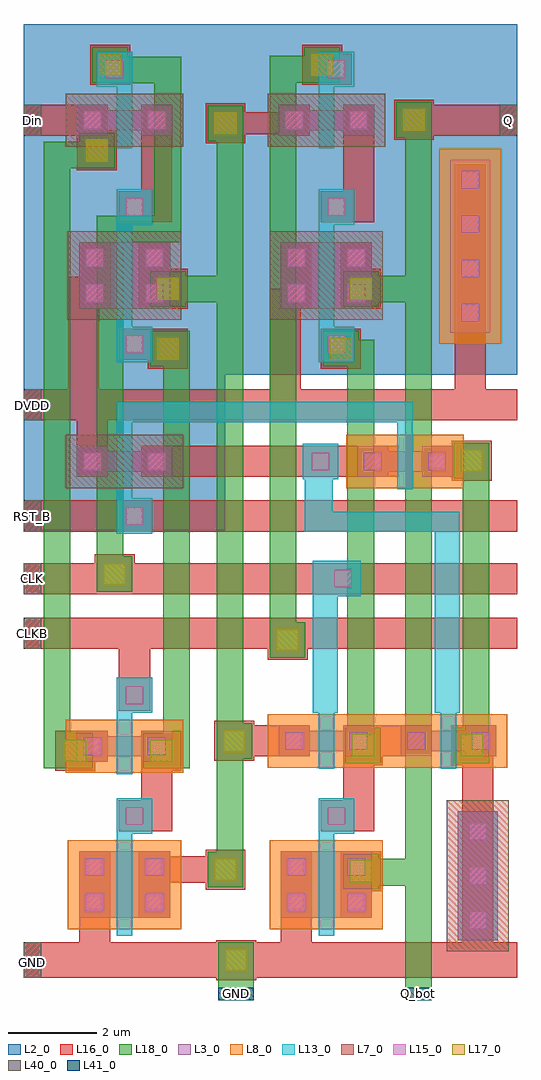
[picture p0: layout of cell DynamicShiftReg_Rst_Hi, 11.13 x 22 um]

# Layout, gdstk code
import gdstk
lib = gdstk.Library(unit=1e-6, precision=1e-09)
def R(c, l, rs):  # rectangles x0, y0, x1, y1
    for r in rs: c.add(gdstk.rectangle(r[:2], r[2:], *l))
def A(c, l, x, y, w, h, nx, ny, dx, dy):  # array of equal rectangles
    R(c, l, [(x+i*dx, y+j*dy, x+i*dx+w, y+j*dy+h) for i in range(nx) for j in range(ny)])
L2_0 = (2, 0)
L3_0 = (3, 0)
L7_0 = (7, 0)
L8_0 = (8, 0)
L13_0 = (13, 0)
L15_0 = (15, 0)
L16_0 = (16, 0)
L17_0 = (17, 0)
L18_0 = (18, 0)
L40_0 = (40, 0)
L41_0 = (41, 0)

pch_cdns_760839033300 = lib.new_cell('pch_CDNS_760839033300')
R(pch_cdns_760839033300, L2_0, [(-2.05,-1.2,2.4,2.7)])
R(pch_cdns_760839033300, L3_0, [(-0.85,0,-0.15,1.5), (-0.85,0,-0.15,1.5), (-0.15,0,0.5,1.5), (0.5,0,1.2,1.5), (0.5,0,1.2,1.5)])
R(pch_cdns_760839033300, L7_0, [(-1.1,-0.25,1.45,1.75)])
R(pch_cdns_760839033300, L13_0, [(0,-0.4,0.35,1.9)])
R(pch_cdns_760839033300, L15_0, [(-0.7,0.15,-0.3,0.55), (0.65,0.15,1.05,0.55), (-0.7,0.95,-0.3,1.35), (0.65,0.95,1.05,1.35)])
R(pch_cdns_760839033300, L16_0, [(-0.85,0,-0.15,1.5), (0.5,0,1.2,1.5)])
pch_cdns_760839033300.add(gdstk.Label('D', (0.85,0.75), layer=59, texttype=0))
pch_cdns_760839033300.add(gdstk.Label('S', (-0.5,0.75), layer=59, texttype=0))
pch_cdns_760839033300.add(gdstk.Label('G', (0.175,0.75), layer=59, texttype=0))
pch_cdns_760839033300.add(gdstk.Label('& SerialNumber 000000', (0,0), layer=16, texttype=0))
pch_cdns_760839033300.add(gdstk.Label('& Distributor VIS', (0,0), layer=16, texttype=0))
pch_cdns_760839033300.add(gdstk.Label('& Metric 1', (0,0), layer=16, texttype=0))
pch_cdns_760839033300.add(gdstk.Label('& Version    \t  1.7A', (0,0), layer=16, texttype=0))
pch_cdns_760839033300.add(gdstk.Label('& PDKName     vis35cv', (0,0), layer=16, texttype=0))
pch_cdns_760839033300.add(gdstk.Label('& Vendor VIS Corp.', (0,0), layer=16, texttype=0))
pch_cdns_760839033300.add(gdstk.Label('& SerialNumber 000000', (0,0), layer=63, texttype=63))
pch_cdns_760839033300.add(gdstk.Label('& Distributor VIS', (0,0), layer=63, texttype=63))
pch_cdns_760839033300.add(gdstk.Label('& Metric 1', (0,0), layer=63, texttype=63))
pch_cdns_760839033300.add(gdstk.Label('& Version    \t  1.7A', (0,0), layer=63, texttype=63))
pch_cdns_760839033300.add(gdstk.Label('& PDKName     vis35cv', (0,0), layer=63, texttype=63))
pch_cdns_760839033300.add(gdstk.Label('& Vendor VIS Corp.', (0,0), layer=63, texttype=63))

pch_cdns_760839033301 = lib.new_cell('pch_CDNS_760839033301')
R(pch_cdns_760839033301, L2_0, [(-2.1,-1.32,2.45,1.78)])
R(pch_cdns_760839033301, L3_0, [(-0.9,-0.12,-0.2,0.58), (0.55,-0.12,1.25,0.58), (-0.9,0,-0.2,0.46), (-0.2,0,0.55,0.46), (0.55,0,1.25,0.46)])
R(pch_cdns_760839033301, L7_0, [(-1.15,-0.37,1.5,0.83)])
R(pch_cdns_760839033301, L13_0, [(0,-0.4,0.35,0.86)])
R(pch_cdns_760839033301, L15_0, [(-0.75,0.03,-0.35,0.43), (0.7,0.03,1.1,0.43)])
R(pch_cdns_760839033301, L16_0, [(-0.9,-0.12,-0.2,0.58), (0.55,-0.12,1.25,0.58)])
pch_cdns_760839033301.add(gdstk.Label('D', (0.9,0.23), layer=59, texttype=0))
pch_cdns_760839033301.add(gdstk.Label('S', (-0.55,0.23), layer=59, texttype=0))
pch_cdns_760839033301.add(gdstk.Label('G', (0.175,0.23), layer=59, texttype=0))
pch_cdns_760839033301.add(gdstk.Label('& SerialNumber 000000', (0,0), layer=16, texttype=0))
pch_cdns_760839033301.add(gdstk.Label('& Distributor VIS', (0,0), layer=16, texttype=0))
pch_cdns_760839033301.add(gdstk.Label('& Metric 1', (0,0), layer=16, texttype=0))
pch_cdns_760839033301.add(gdstk.Label('& Version    \t  1.7A', (0,0), layer=16, texttype=0))
pch_cdns_760839033301.add(gdstk.Label('& PDKName     vis35cv', (0,0), layer=16, texttype=0))
pch_cdns_760839033301.add(gdstk.Label('& Vendor VIS Corp.', (0,0), layer=16, texttype=0))
pch_cdns_760839033301.add(gdstk.Label('& SerialNumber 000000', (0,0), layer=63, texttype=63))
pch_cdns_760839033301.add(gdstk.Label('& Distributor VIS', (0,0), layer=63, texttype=63))
pch_cdns_760839033301.add(gdstk.Label('& Metric 1', (0,0), layer=63, texttype=63))
pch_cdns_760839033301.add(gdstk.Label('& Version    \t  1.7A', (0,0), layer=63, texttype=63))
pch_cdns_760839033301.add(gdstk.Label('& PDKName     vis35cv', (0,0), layer=63, texttype=63))
pch_cdns_760839033301.add(gdstk.Label('& Vendor VIS Corp.', (0,0), layer=63, texttype=63))

nch_cdns_760839033302 = lib.new_cell('nch_CDNS_760839033302')
R(nch_cdns_760839033302, L3_0, [(-0.9,-0.12,-0.2,0.58), (0.55,-0.12,1.25,0.58), (-0.9,0,-0.2,0.46), (-0.2,0,0.55,0.46), (0.55,0,1.25,0.46)])
R(nch_cdns_760839033302, L8_0, [(-1.15,-0.37,1.5,0.83)])
R(nch_cdns_760839033302, L13_0, [(0,-0.4,0.35,0.86)])
R(nch_cdns_760839033302, L15_0, [(-0.75,0.03,-0.35,0.43), (0.7,0.03,1.1,0.43)])
R(nch_cdns_760839033302, L16_0, [(-0.9,-0.12,-0.2,0.58), (0.55,-0.12,1.25,0.58)])
nch_cdns_760839033302.add(gdstk.Label('D', (0.9,0.23), layer=59, texttype=0))
nch_cdns_760839033302.add(gdstk.Label('S', (-0.55,0.23), layer=59, texttype=0))
nch_cdns_760839033302.add(gdstk.Label('G', (0.175,0.23), layer=59, texttype=0))
nch_cdns_760839033302.add(gdstk.Label('& SerialNumber 000000', (0,0), layer=16, texttype=0))
nch_cdns_760839033302.add(gdstk.Label('& Distributor VIS', (0,0), layer=16, texttype=0))
nch_cdns_760839033302.add(gdstk.Label('& Metric 1', (0,0), layer=16, texttype=0))
nch_cdns_760839033302.add(gdstk.Label('& Version    \t  1.7A', (0,0), layer=16, texttype=0))
nch_cdns_760839033302.add(gdstk.Label('& PDKName     vis35cv', (0,0), layer=16, texttype=0))
nch_cdns_760839033302.add(gdstk.Label('& Vendor VIS Corp.', (0,0), layer=16, texttype=0))
nch_cdns_760839033302.add(gdstk.Label('& SerialNumber 000000', (0,0), layer=63, texttype=63))
nch_cdns_760839033302.add(gdstk.Label('& Distributor VIS', (0,0), layer=63, texttype=63))
nch_cdns_760839033302.add(gdstk.Label('& Metric 1', (0,0), layer=63, texttype=63))
nch_cdns_760839033302.add(gdstk.Label('& Version    \t  1.7A', (0,0), layer=63, texttype=63))
nch_cdns_760839033302.add(gdstk.Label('& PDKName     vis35cv', (0,0), layer=63, texttype=63))
nch_cdns_760839033302.add(gdstk.Label('& Vendor VIS Corp.', (0,0), layer=63, texttype=63))

nch_cdns_760839033303 = lib.new_cell('nch_CDNS_760839033303')
R(nch_cdns_760839033303, L3_0, [(-0.85,0,-0.15,1.5), (-0.85,0,-0.15,1.5), (-0.15,0,0.5,1.5), (0.5,0,1.2,1.5), (0.5,0,1.2,1.5)])
R(nch_cdns_760839033303, L8_0, [(-1.1,-0.25,1.45,1.75)])
R(nch_cdns_760839033303, L13_0, [(0,-0.4,0.35,1.9)])
R(nch_cdns_760839033303, L15_0, [(-0.7,0.15,-0.3,0.55), (0.65,0.15,1.05,0.55), (-0.7,0.95,-0.3,1.35), (0.65,0.95,1.05,1.35)])
R(nch_cdns_760839033303, L16_0, [(-0.85,0,-0.15,1.5), (0.5,0,1.2,1.5)])
nch_cdns_760839033303.add(gdstk.Label('D', (0.85,0.75), layer=59, texttype=0))
nch_cdns_760839033303.add(gdstk.Label('S', (-0.5,0.75), layer=59, texttype=0))
nch_cdns_760839033303.add(gdstk.Label('G', (0.175,0.75), layer=59, texttype=0))
nch_cdns_760839033303.add(gdstk.Label('& SerialNumber 000000', (0,0), layer=16, texttype=0))
nch_cdns_760839033303.add(gdstk.Label('& Distributor VIS', (0,0), layer=16, texttype=0))
nch_cdns_760839033303.add(gdstk.Label('& Metric 1', (0,0), layer=16, texttype=0))
nch_cdns_760839033303.add(gdstk.Label('& Version    \t  1.7A', (0,0), layer=16, texttype=0))
nch_cdns_760839033303.add(gdstk.Label('& PDKName     vis35cv', (0,0), layer=16, texttype=0))
nch_cdns_760839033303.add(gdstk.Label('& Vendor VIS Corp.', (0,0), layer=16, texttype=0))
nch_cdns_760839033303.add(gdstk.Label('& SerialNumber 000000', (0,0), layer=63, texttype=63))
nch_cdns_760839033303.add(gdstk.Label('& Distributor VIS', (0,0), layer=63, texttype=63))
nch_cdns_760839033303.add(gdstk.Label('& Metric 1', (0,0), layer=63, texttype=63))
nch_cdns_760839033303.add(gdstk.Label('& Version    \t  1.7A', (0,0), layer=63, texttype=63))
nch_cdns_760839033303.add(gdstk.Label('& PDKName     vis35cv', (0,0), layer=63, texttype=63))
nch_cdns_760839033303.add(gdstk.Label('& Vendor VIS Corp.', (0,0), layer=63, texttype=63))

m1_nactive_cdns_76083903 = lib.new_cell('M1_NACTIVE_CDNS_760839033300')
R(m1_nactive_cdns_76083903, L3_0, [(-0.45,-1.95,0.45,1.95)])
R(m1_nactive_cdns_76083903, L8_0, [(-0.7,-2.2,0.7,2.2)])
A(m1_nactive_cdns_76083903, L15_0, -0.2, -1.7, 0.4, 0.4, 1, 4, 0, 1)
R(m1_nactive_cdns_76083903, L16_0, [(-0.35,-1.85,0.35,1.85)])

m2_m1_cdns_760839033301 = lib.new_cell('M2_M1_CDNS_760839033301')
R(m2_m1_cdns_760839033301, L16_0, [(-0.45,-0.45,0.45,0.45)])
R(m2_m1_cdns_760839033301, L17_0, [(-0.25,-0.25,0.25,0.25)])
R(m2_m1_cdns_760839033301, L18_0, [(-0.4,-0.4,0.4,0.4)])

m1_poly1_cdns_7608390333 = lib.new_cell('M1_POLY1_CDNS_760839033302')
R(m1_poly1_cdns_7608390333, L13_0, [(-0.4,-0.4,0.4,0.4)])
R(m1_poly1_cdns_7608390333, L15_0, [(-0.2,-0.2,0.2,0.2)])
R(m1_poly1_cdns_7608390333, L16_0, [(-0.35,-0.35,0.35,0.35)])

m1_pactive_cdns_76083903 = lib.new_cell('M1_PACTIVE_CDNS_760839033303')
R(m1_pactive_cdns_76083903, L3_0, [(-0.45,-1.45,0.45,1.45)])
R(m1_pactive_cdns_76083903, L7_0, [(-0.7,-1.7,0.7,1.7)])
A(m1_pactive_cdns_76083903, L15_0, -0.2, -1.2, 0.4, 0.4, 1, 3, 0, 1)
R(m1_pactive_cdns_76083903, L16_0, [(-0.35,-1.35,0.35,1.35)])

dynamicshiftreg_rst_hi = lib.new_cell('DynamicShiftReg_Rst_Hi')
R(dynamicshiftreg_rst_hi, L2_0, [(0,13.69,4.55,14.09), (0,14.09,11.13,22)])
R(dynamicshiftreg_rst_hi, L8_0, [(8.15,5.24,8.25,6.44)])
R(dynamicshiftreg_rst_hi, L13_0, [(6.52,6.47,7.08,9.9), (9.27,6.47,9.83,10.94), (6.34,10.56,9.83,11.01), (6.34,10.56,6.97,12.18), (2.1,11.31,2.45,11.51), (2.1,12.77,2.45,13.02), (8.42,12.77,8.77,13.02), (2.1,13.02,8.77,13.49)])
R(dynamicshiftreg_rst_hi, L16_0, [(8.1,5.49,8.5,6.19), (2.15,7.22,2.85,7.92), (2.65,11.79,8.44,12.49), (1.2,12.49,1.9,13.07)])
R(dynamicshiftreg_rst_hi, L40_0, [(0,0.5,0.4,1.3), (0,7.92,0.4,8.62), (0,9.15,0.4,9.85), (0,10.56,0.4,11.26), (0,13.07,0.4,13.77), (0,19.48,0.4,20.18), (10.73,19.48,11.13,20.18)])
R(dynamicshiftreg_rst_hi, L41_0, [(4.39,0,5.19,0.28), (8.6,0,9.2,0.28)])
dynamicshiftreg_rst_hi.add(gdstk.FlexPath([(10.1,5.74),(10.2,5.74)], 0.8, ends=(0, 0.3), simple_path=True, layer=18, datatype=0))  # L18_0
dynamicshiftreg_rst_hi.add(gdstk.FlexPath([(10.2,5.74),(10.2,12.14)], 0.6, ends=(0.4, 0), simple_path=True, layer=18, datatype=0))  # L18_0
dynamicshiftreg_rst_hi.add(gdstk.FlexPath([(4.79,0),(4.79,0.5)], 0.8, ends="flush", simple_path=True, layer=18, datatype=0))  # L18_0
dynamicshiftreg_rst_hi.add(gdstk.FlexPath([(1.65,19.05),(0.75,19.05)], 0.6, ends="extended", simple_path=True, layer=18, datatype=0))  # L18_0
dynamicshiftreg_rst_hi.add(gdstk.FlexPath([(1.65,19.03),(1.65,19.05)], 0.6, ends=(0, 0.3), simple_path=True, layer=18, datatype=0))  # L18_0
dynamicshiftreg_rst_hi.add(gdstk.FlexPath([(1.95,20.96),(3.25,20.96)], 0.6, ends=(0, 0.3), simple_path=True, layer=18, datatype=0))  # L18_0
dynamicshiftreg_rst_hi.add(gdstk.FlexPath([(6.73,20.98),(6.73,20.96)], 0.6, ends=(0.3, 0), simple_path=True, layer=18, datatype=0))  # L18_0
dynamicshiftreg_rst_hi.add(gdstk.FlexPath([(5.85,20.98),(6.73,20.98)], 0.6, ends="extended", simple_path=True, layer=18, datatype=0))  # L18_0
dynamicshiftreg_rst_hi.add(gdstk.FlexPath([(5.85,8.41),(5.85,20.98)], 0.6, ends=(0, 0.3), simple_path=True, layer=18, datatype=0))  # L18_0
dynamicshiftreg_rst_hi.add(gdstk.FlexPath([(1.95,17.38),(1.95,9.49)], 0.6, ends=(0.3, 0), simple_path=True, layer=18, datatype=0))  # L18_0
dynamicshiftreg_rst_hi.add(gdstk.FlexPath([(7.6,2.94),(7.6,2.88)], 0.6, ends=(0, 0.3), simple_path=True, layer=18, datatype=0))  # L18_0
dynamicshiftreg_rst_hi.add(gdstk.FlexPath([(7.6,2.88),(8.9,2.88)], 0.6, ends="extended", simple_path=True, layer=18, datatype=0))  # L18_0
dynamicshiftreg_rst_hi.add(gdstk.FlexPath([(7.15,14.58),(7.6,14.58)], 0.6, ends=(0.4, 0.3), simple_path=True, layer=18, datatype=0))  # L18_0
dynamicshiftreg_rst_hi.add(gdstk.FlexPath([(7.6,14.58),(7.6,5.35)], 0.6, ends=(0.3, 0), simple_path=True, layer=18, datatype=0))  # L18_0
dynamicshiftreg_rst_hi.add(gdstk.FlexPath([(3.45,14.68),(3.45,5.22)], 0.6, ends=(0.4, 0), simple_path=True, layer=18, datatype=0))  # L18_0
dynamicshiftreg_rst_hi.add(gdstk.FlexPath([(4.65,19.76),(4.65,2.94)], 0.6, ends="flush", simple_path=True, layer=18, datatype=0))  # L18_0
dynamicshiftreg_rst_hi.add(gdstk.FlexPath([(8.9,2.88),(8.9,19.84)], 0.6, ends=(0.3, 0), simple_path=True, layer=18, datatype=0))  # L18_0
dynamicshiftreg_rst_hi.add(gdstk.FlexPath([(7.6,16.03),(8.7,16.03)], 0.6, ends=(0, 0.3), simple_path=True, layer=18, datatype=0))  # L18_0
dynamicshiftreg_rst_hi.add(gdstk.FlexPath([(3.25,17.38),(1.95,17.38)], 0.6, ends="extended", simple_path=True, layer=18, datatype=0))  # L18_0
dynamicshiftreg_rst_hi.add(gdstk.FlexPath([(3.05,16.03),(4.55,16.03)], 0.6, ends=(0, 0.3), simple_path=True, layer=18, datatype=0))  # L18_0
dynamicshiftreg_rst_hi.add(gdstk.FlexPath([(8.9,2.88),(8.9,0)], 0.6, ends=(0.3, 0), simple_path=True, layer=18, datatype=0))  # L18_0
dynamicshiftreg_rst_hi.add(gdstk.FlexPath([(3.25,20.96),(3.25,17.38)], 0.6, ends="extended", simple_path=True, layer=18, datatype=0))  # L18_0
dynamicshiftreg_rst_hi.add(gdstk.FlexPath([(0.75,19.05),(0.75,5.22)], 0.6, ends=(0.3, 0), simple_path=True, layer=18, datatype=0))  # L18_0
dynamicshiftreg_rst_hi.add(gdstk.FlexPath([(6.825,20.46),(6.825,20.58)], 0.35, ends="flush", simple_path=True, layer=13, datatype=0))  # L13_0
dynamicshiftreg_rst_hi.add(gdstk.FlexPath([(2.275,6.35),(2.275,6.47)], 0.35, ends="flush", simple_path=True, layer=13, datatype=0))  # L13_0
dynamicshiftreg_rst_hi.add(gdstk.FlexPath([(2.275,20.46),(2.275,20.58)], 0.35, ends="flush", simple_path=True, layer=13, datatype=0))  # L13_0
dynamicshiftreg_rst_hi.add(gdstk.FlexPath([(11.13,9.5),(0,9.5)], 0.7, ends="flush", simple_path=True, layer=16, datatype=0))  # L16_0
dynamicshiftreg_rst_hi.add(gdstk.FlexPath([(10.73,0.9),(0,0.9)], 0.8, ends=(0.4, 0), simple_path=True, layer=16, datatype=0))  # L16_0
dynamicshiftreg_rst_hi.add(gdstk.FlexPath([(11.13,8.27),(0,8.27)], 0.7, ends="flush", simple_path=True, layer=16, datatype=0))  # L16_0
dynamicshiftreg_rst_hi.add(gdstk.FlexPath([(11.13,10.91),(0,10.91)], 0.7, ends="flush", simple_path=True, layer=16, datatype=0))  # L16_0
dynamicshiftreg_rst_hi.add(gdstk.FlexPath([(0,13.42),(1.35,13.42)], 0.7, ends=(0, 0.35), simple_path=True, layer=16, datatype=0))  # L16_0
dynamicshiftreg_rst_hi.add(gdstk.FlexPath([(6.15,1.85),(6.15,1.05)], 0.7, ends=(0, 0.4), simple_path=True, layer=16, datatype=0))  # L16_0
dynamicshiftreg_rst_hi.add(gdstk.FlexPath([(10.24,6.19),(10.24,1.05)], 0.7, ends=(0, 0.4), simple_path=True, layer=16, datatype=0))  # L16_0
dynamicshiftreg_rst_hi.add(gdstk.FlexPath([(10.07,16.03),(10.07,13.42)], 0.7, ends=(0, 0.35), simple_path=True, layer=16, datatype=0))  # L16_0
dynamicshiftreg_rst_hi.add(gdstk.FlexPath([(1.6,1.98),(1.6,1.05)], 0.7, ends=(0, 0.4), simple_path=True, layer=16, datatype=0))  # L16_0
dynamicshiftreg_rst_hi.add(gdstk.FlexPath([(5.9,16.03),(5.9,13.42)], 0.7, ends=(0, 0.35), simple_path=True, layer=16, datatype=0))  # L16_0
dynamicshiftreg_rst_hi.add(gdstk.FlexPath([(1.35,16.3),(1.35,13.42)], 0.7, ends=(0, 0.35), simple_path=True, layer=16, datatype=0))  # L16_0
dynamicshiftreg_rst_hi.add(gdstk.FlexPath([(5.75,5.84),(4.55,5.84)], 0.7, ends="flush", simple_path=True, layer=16, datatype=0))  # L16_0
dynamicshiftreg_rst_hi.add(gdstk.FlexPath([(4.55,2.94),(3.3,2.94)], 0.6, ends="flush", simple_path=True, layer=16, datatype=0))  # L16_0
dynamicshiftreg_rst_hi.add(gdstk.FlexPath([(7.55,5.49),(7.55,3.8)], 0.7, ends="flush", simple_path=True, layer=16, datatype=0))  # L16_0
dynamicshiftreg_rst_hi.add(gdstk.FlexPath([(3,5.49),(3,3.8)], 0.7, ends="flush", simple_path=True, layer=16, datatype=0))  # L16_0
dynamicshiftreg_rst_hi.add(gdstk.FlexPath([(11.13,19.83),(9.02,19.83)], 0.7, ends="flush", simple_path=True, layer=16, datatype=0))  # L16_0
dynamicshiftreg_rst_hi.add(gdstk.FlexPath([(1.2,19.83),(0,19.83)], 0.7, ends="flush", simple_path=True, layer=16, datatype=0))  # L16_0
dynamicshiftreg_rst_hi.add(gdstk.FlexPath([(4.55,19.76),(5.75,19.76)], 0.5, ends="flush", simple_path=True, layer=16, datatype=0))  # L16_0
dynamicshiftreg_rst_hi.add(gdstk.FlexPath([(3,19.63),(3,17.53)], 0.7, ends="flush", simple_path=True, layer=16, datatype=0))  # L16_0
dynamicshiftreg_rst_hi.add(gdstk.FlexPath([(7.55,19.63),(7.55,17.53)], 0.7, ends="flush", simple_path=True, layer=16, datatype=0))  # L16_0
dynamicshiftreg_rst_hi.add(gdstk.FlexPath([(10.07,13.42),(10.78,13.42)], 0.7, ends="extended", simple_path=True, layer=16, datatype=0))  # L16_0
dynamicshiftreg_rst_hi.add(gdstk.FlexPath([(5.9,13.42),(10.07,13.42)], 0.7, ends="extended", simple_path=True, layer=16, datatype=0))  # L16_0
dynamicshiftreg_rst_hi.add(gdstk.FlexPath([(1.35,13.42),(5.9,13.42)], 0.7, ends="extended", simple_path=True, layer=16, datatype=0))  # L16_0
dynamicshiftreg_rst_hi.add(gdstk.Reference(pch_cdns_760839033300, (6.65,15.58)))
dynamicshiftreg_rst_hi.add(gdstk.Reference(pch_cdns_760839033300, (2.1,15.58)))
dynamicshiftreg_rst_hi.add(gdstk.Reference(pch_cdns_760839033301, (2.1,12.37), x_reflection=True))
dynamicshiftreg_rst_hi.add(gdstk.Reference(pch_cdns_760839033301, (6.65,19.6)))
dynamicshiftreg_rst_hi.add(gdstk.Reference(pch_cdns_760839033301, (2.1,19.6)))
dynamicshiftreg_rst_hi.add(gdstk.Reference(nch_cdns_760839033302, (9.4,5.61)))
dynamicshiftreg_rst_hi.add(gdstk.Reference(nch_cdns_760839033302, (8.42,11.91)))
dynamicshiftreg_rst_hi.add(gdstk.Reference(nch_cdns_760839033302, (6.65,5.61)))
dynamicshiftreg_rst_hi.add(gdstk.Reference(nch_cdns_760839033302, (2.1,5.49)))
dynamicshiftreg_rst_hi.add(gdstk.Reference(nch_cdns_760839033303, (6.65,1.85)))
dynamicshiftreg_rst_hi.add(gdstk.Reference(nch_cdns_760839033303, (2.1,1.85)))
dynamicshiftreg_rst_hi.add(gdstk.Reference(m1_nactive_cdns_76083903, (10.07,16.99)))
dynamicshiftreg_rst_hi.add(gdstk.Reference(m2_m1_cdns_760839033301, (4.79,0.9)))
dynamicshiftreg_rst_hi.add(gdstk.Reference(m2_m1_cdns_760839033301, (1.65,19.15)))
dynamicshiftreg_rst_hi.add(gdstk.Reference(m2_m1_cdns_760839033301, (1.16,5.62)))
dynamicshiftreg_rst_hi.add(gdstk.Reference(m2_m1_cdns_760839033301, (5.95,8.12)))
dynamicshiftreg_rst_hi.add(gdstk.Reference(m2_m1_cdns_760839033301, (6.73,21.08)))
dynamicshiftreg_rst_hi.add(gdstk.Reference(m2_m1_cdns_760839033301, (2.05,9.6)))
dynamicshiftreg_rst_hi.add(gdstk.Reference(m2_m1_cdns_760839033301, (1.95,21.08)))
dynamicshiftreg_rst_hi.add(gdstk.Reference(m2_m1_cdns_760839033301, (10.1,12.16)))
dynamicshiftreg_rst_hi.add(gdstk.Reference(m2_m1_cdns_760839033301, (10.1,5.74)))
dynamicshiftreg_rst_hi.add(gdstk.Reference(m2_m1_cdns_760839033301, (7.6,2.9)))
dynamicshiftreg_rst_hi.add(gdstk.Reference(m2_m1_cdns_760839033301, (7.65,5.74)))
dynamicshiftreg_rst_hi.add(gdstk.Reference(m2_m1_cdns_760839033301, (3.1,5.62)))
dynamicshiftreg_rst_hi.add(gdstk.Reference(m2_m1_cdns_760839033301, (3.25,14.68)))
dynamicshiftreg_rst_hi.add(gdstk.Reference(m2_m1_cdns_760839033301, (7.15,14.68)))
dynamicshiftreg_rst_hi.add(gdstk.Reference(m2_m1_cdns_760839033301, (4.75,5.84)))
dynamicshiftreg_rst_hi.add(gdstk.Reference(m2_m1_cdns_760839033301, (4.55,2.94)))
dynamicshiftreg_rst_hi.add(gdstk.Reference(m2_m1_cdns_760839033301, (8.8,19.84)))
dynamicshiftreg_rst_hi.add(gdstk.Reference(m2_m1_cdns_760839033301, (7.6,16.03)))
dynamicshiftreg_rst_hi.add(gdstk.Reference(m2_m1_cdns_760839033301, (4.55,19.76)))
dynamicshiftreg_rst_hi.add(gdstk.Reference(m2_m1_cdns_760839033301, (3.25,16.03)))
dynamicshiftreg_rst_hi.add(gdstk.Reference(m1_poly1_cdns_7608390333, (2.5,10.91), x_reflection=True))
dynamicshiftreg_rst_hi.add(gdstk.Reference(m1_poly1_cdns_7608390333, (6.69,12.14)))
dynamicshiftreg_rst_hi.add(gdstk.Reference(m1_poly1_cdns_7608390333, (2.5,14.78)))
dynamicshiftreg_rst_hi.add(gdstk.Reference(m1_poly1_cdns_7608390333, (7.05,14.78)))
dynamicshiftreg_rst_hi.add(gdstk.Reference(m1_poly1_cdns_7608390333, (7.2,9.5)))
dynamicshiftreg_rst_hi.add(gdstk.Reference(m1_poly1_cdns_7608390333, (2.5,6.87)))
dynamicshiftreg_rst_hi.add(gdstk.Reference(m1_poly1_cdns_7608390333, (7.05,20.98)))
dynamicshiftreg_rst_hi.add(gdstk.Reference(m1_poly1_cdns_7608390333, (2.05,20.98)))
dynamicshiftreg_rst_hi.add(gdstk.Reference(m1_poly1_cdns_7608390333, (7.05,4.15)))
dynamicshiftreg_rst_hi.add(gdstk.Reference(m1_poly1_cdns_7608390333, (2.5,4.15)))
dynamicshiftreg_rst_hi.add(gdstk.Reference(m1_poly1_cdns_7608390333, (2.5,17.88)))
dynamicshiftreg_rst_hi.add(gdstk.Reference(m1_poly1_cdns_7608390333, (7.05,17.88)))
dynamicshiftreg_rst_hi.add(gdstk.Reference(m1_pactive_cdns_76083903, (10.24,2.8)))
dynamicshiftreg_rst_hi.add(gdstk.Label('Q_bot', (8.91,0.14), layer=41, texttype=0))
dynamicshiftreg_rst_hi.add(gdstk.Label('GND', (4.79,0.14), layer=41, texttype=0))
dynamicshiftreg_rst_hi.add(gdstk.Label('Din', (0.21,19.82), layer=40, texttype=0))
dynamicshiftreg_rst_hi.add(gdstk.Label('RST_B', (0.21,10.9), layer=40, texttype=0))
dynamicshiftreg_rst_hi.add(gdstk.Label('Q', (10.94,19.82), layer=40, texttype=0))
dynamicshiftreg_rst_hi.add(gdstk.Label('DVDD', (0.21,13.41), layer=40, texttype=0))
dynamicshiftreg_rst_hi.add(gdstk.Label('CLK', (0.21,9.49), layer=40, texttype=0))
dynamicshiftreg_rst_hi.add(gdstk.Label('CLKB', (0.21,8.26), layer=40, texttype=0))
dynamicshiftreg_rst_hi.add(gdstk.Label('GND', (0.21,0.85), layer=40, texttype=0))

lib.write_gds('DynamicShiftReg_Rst_Hi.gds')
